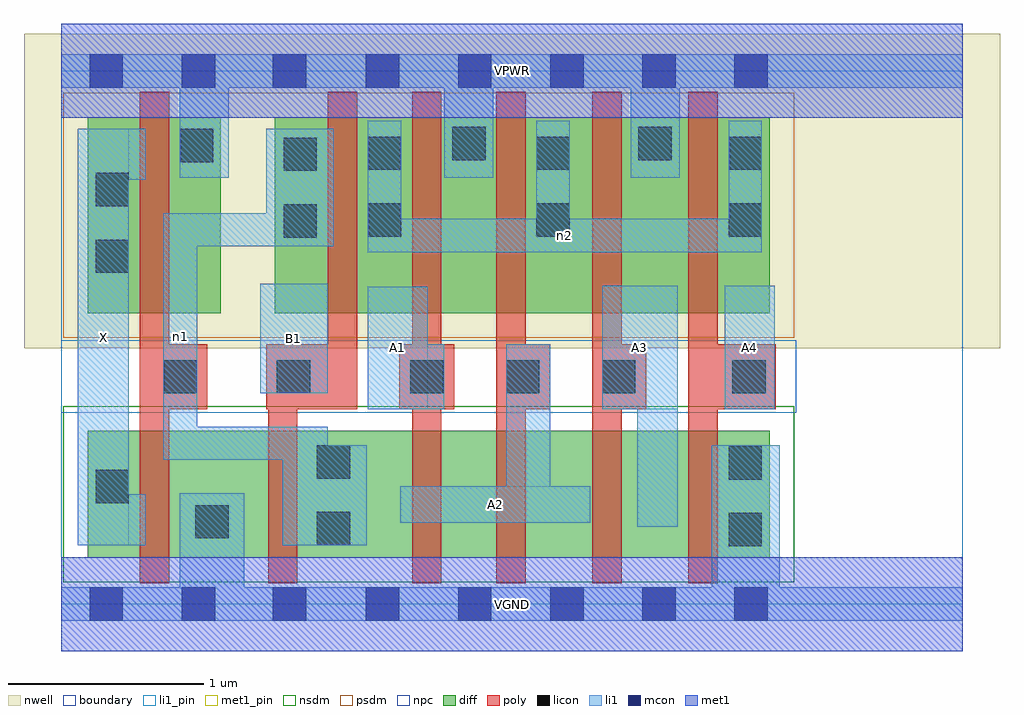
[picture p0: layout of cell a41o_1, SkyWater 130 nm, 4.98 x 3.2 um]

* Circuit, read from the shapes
.subckt a41o_1 A1 A2 A3 A4 B1 VGND VPWR X n1 n2
XM1 VGND n1 X VSUBS sky130_fd_pr__nfet_01v8 w=0.65 l=0.15
XM2 n1 B1 VGND VSUBS sky130_fd_pr__nfet_01v8 w=0.65 l=0.15
XM3 n3 A1 n1 VSUBS sky130_fd_pr__nfet_01v8 w=0.65 l=0.15
XM4 n4 A2 n3 VSUBS sky130_fd_pr__nfet_01v8 w=0.65 l=0.15
XM5 n5 A3 n4 VSUBS sky130_fd_pr__nfet_01v8 w=0.65 l=0.15
XM6 VGND A4 n5 VSUBS sky130_fd_pr__nfet_01v8 w=0.65 l=0.15
XM7 VPWR n1 X n6 sky130_fd_pr__pfet_01v8 w=1 l=0.15
XM8 n2 B1 n1 n6 sky130_fd_pr__pfet_01v8 w=1 l=0.15
XM9 VPWR A1 n2 n6 sky130_fd_pr__pfet_01v8 w=1 l=0.15
XM10 n2 A2 VPWR n6 sky130_fd_pr__pfet_01v8 w=1 l=0.15
XM11 VPWR A3 n2 n6 sky130_fd_pr__pfet_01v8 w=1 l=0.15
XM12 n2 A4 VPWR n6 sky130_fd_pr__pfet_01v8 w=1 l=0.15
.ends

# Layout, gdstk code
import gdstk
lib = gdstk.Library(unit=1e-6, precision=1e-09)
def R(c, l, rs):  # rectangles x0, y0, x1, y1
    for r in rs: c.add(gdstk.rectangle(r[:2], r[2:], *l))
def A(c, l, x, y, w, h, nx, ny, dx, dy):  # array of equal rectangles
    R(c, l, [(x+i*dx, y+j*dy, x+i*dx+w, y+j*dy+h) for i in range(nx) for j in range(ny)])
nwell = (64, 20)
diff = (65, 20)
poly = (66, 20)
licon = (66, 44)
li1_pin = (67, 16)
li1 = (67, 20)
mcon = (67, 44)
met1_pin = (68, 16)
met1 = (68, 20)
nsdm = (93, 44)
psdm = (94, 20)
npc = (95, 20)
boundary = (235, 4)

a41o_1 = lib.new_cell('a41o_1')
R(a41o_1, nwell, [(-0.19,1.305,4.79,2.91), (0,1.305,4.6,2.91)])
R(a41o_1, diff, [(0.135,0.235,3.615,0.885), (0.135,1.485,0.815,2.485), (1.09,1.485,3.615,2.485)])
A(a41o_1, poly, 2.22, 0.105, 0.15, 2.51, 3, 1, 0.49, 0)
R(a41o_1, poly, [(0.4,0.105,0.55,2.615), (1.055,0.105,1.205,1.325), (1.79,0.105,1.94,2.615), (0.4,0.995,0.745,1.325), (1.045,0.995,1.51,1.325), (1.36,0.995,1.51,2.615), (1.725,0.995,2.005,1.325), (2.22,0.995,2.495,1.325), (2.71,0.995,2.985,1.325), (3.2,0.995,3.645,1.325)])
A(a41o_1, licon, 1.78, 1.075, 0.17, 0.17, 3, 1, 0.49, 0)
R(a41o_1, licon, [(3.405,0.295,3.575,0.465), (1.305,0.3,1.475,0.47), (0.685,0.335,0.855,0.505), (0.175,0.515,0.345,0.685), (3.405,0.635,3.575,0.805), (1.305,0.64,1.475,0.81), (0.525,1.075,0.695,1.245), (1.1,1.075,1.27,1.245), (3.425,1.075,3.595,1.245), (0.175,1.69,0.345,1.86), (1.135,1.87,1.305,2.04), (1.565,1.875,1.735,2.045), (2.425,1.875,2.595,2.045), (3.405,1.875,3.575,2.045), (0.175,2.03,0.345,2.2), (1.135,2.21,1.305,2.38), (1.565,2.215,1.735,2.385), (2.425,2.215,2.595,2.385), (3.405,2.215,3.575,2.385), (0.605,2.255,0.775,2.425), (1.995,2.265,2.165,2.435), (2.945,2.265,3.115,2.435)])
R(a41o_1, li1_pin, [(0.085,0.3,0.345,2.425), (1.73,0.415,2.7,0.6), (1.565,0.995,1.87,1.62), (2.76,0.995,3.145,1.625), (3.385,0.995,3.64,1.625), (1.015,1.075,1.36,1.635)])
R(a41o_1, li1, [(0,-0.085,4.6,0.085), (0.605,-0.085,0.935,0.565), (3.32,-0.085,3.665,0.81), (0.085,0.3,0.345,2.425), (0.085,0.3,0.43,0.56), (1.13,0.3,1.56,0.81), (2.94,0.395,3.145,1.625), (1.73,0.415,2.7,0.6), (2.27,0.415,2.495,1.325), (0.52,0.735,0.695,1.995), (0.52,0.735,1.36,0.905), (1.565,0.995,1.87,1.62), (1.565,0.995,1.955,1.325), (2.76,0.995,3.145,1.625), (3.385,0.995,3.64,1.625), (1.015,1.075,1.36,1.635), (1.565,1.795,3.575,1.965), (1.565,1.795,1.735,2.465), (2.425,1.795,2.595,2.465), (3.405,1.795,3.575,2.465), (0.52,1.825,1.39,1.995), (1.045,1.825,1.39,2.425), (0.085,2.165,0.43,2.425), (0.605,2.175,0.855,2.805), (1.955,2.175,2.205,2.805), (2.905,2.175,3.155,2.805), (0,2.635,4.6,2.805)])
A(a41o_1, mcon, 1.555, -0.085, 0.17, 0.17, 5, 2, 0.47, 2.72)
R(a41o_1, mcon, [(0.145,-0.085,0.315,0.085), (0.615,-0.085,0.785,0.085), (1.08,-0.085,1.25,0.085), (0.145,2.635,0.315,2.805), (0.615,2.635,0.785,2.805), (1.08,2.635,1.25,2.805)])
R(a41o_1, met1_pin, [(0,-0.24,4.6,0.24), (0,2.48,4.6,2.96)])
R(a41o_1, met1, [(0,-0.24,4.6,0.24), (0,2.48,4.6,2.96)])
R(a41o_1, nsdm, [(0.01,0.11,3.74,1.01)])
R(a41o_1, psdm, [(0.01,1.36,3.74,2.61)])
R(a41o_1, npc, [(0,0.975,3.75,1.345)])
R(a41o_1, boundary, [(0,0,4.6,2.72)])
a41o_1.add(gdstk.Label('A1', (1.717,1.307), layer=67, texttype=5))
a41o_1.add(gdstk.Label('A2', (2.215,0.507), layer=67, texttype=5))
a41o_1.add(gdstk.Label('A3', (2.952,1.31), layer=67, texttype=5))
a41o_1.add(gdstk.Label('A4', (3.512,1.31), layer=67, texttype=5))
a41o_1.add(gdstk.Label('B1', (1.187,1.355), layer=67, texttype=5))
a41o_1.add(gdstk.Label('X', (0.215,1.362), layer=67, texttype=5))
a41o_1.add(gdstk.Label('n1', (0.607,1.365), layer=67, texttype=5))
a41o_1.add(gdstk.Label('n2', (2.57,1.88), layer=67, texttype=5))
a41o_1.add(gdstk.Label('VPWR', (2.3,2.72), layer=68, texttype=5))
a41o_1.add(gdstk.Label('VGND', (2.3,0), layer=68, texttype=5))
a41o_1.add(gdstk.Label('A1', (1.717,1.307), layer=67, texttype=16))
a41o_1.add(gdstk.Label('A2', (2.215,0.507), layer=67, texttype=16))
a41o_1.add(gdstk.Label('A3', (2.952,1.31), layer=67, texttype=16))
a41o_1.add(gdstk.Label('A4', (3.512,1.31), layer=67, texttype=16))
a41o_1.add(gdstk.Label('B1', (1.187,1.355), layer=67, texttype=16))
a41o_1.add(gdstk.Label('X', (0.215,1.362), layer=67, texttype=16))
a41o_1.add(gdstk.Label('VPWR', (2.3,2.72), layer=68, texttype=16))
a41o_1.add(gdstk.Label('VGND', (2.3,0), layer=68, texttype=16))

lib.write_gds('a41o_1.gds')
